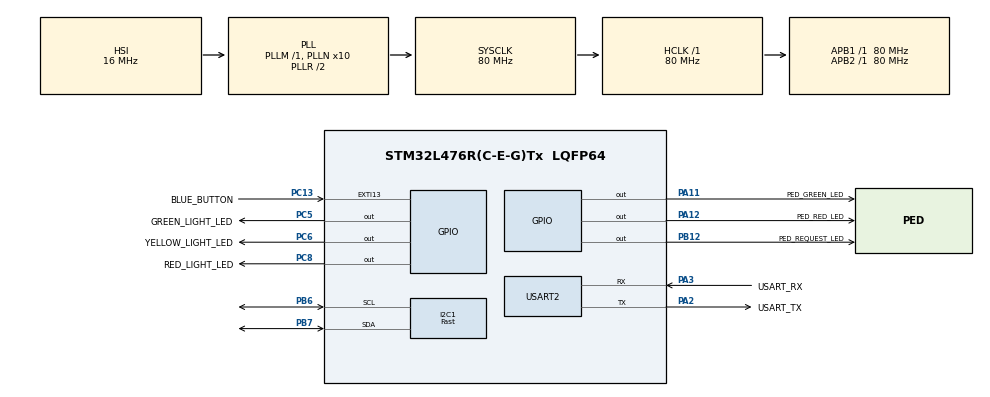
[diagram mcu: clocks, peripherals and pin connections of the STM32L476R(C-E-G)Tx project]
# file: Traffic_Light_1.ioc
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I2C1.I2C_Speed_Mode=I2C_Fast
I2C1.OwnAddress=0x78
I2C1.Timing=0x00702991
Mcu.Family=STM32L4
Mcu.Name=STM32L476R(C-E-G)Tx
Mcu.Package=LQFP64
NVIC.EXTI15_10_IRQn=true\:1\:0\:true\:false\:true\:true\:true
NVIC.PriorityGroup=NVIC_PRIORITYGROUP_4
PA11.GPIO_Label=PED_GREEN_LED
PA11.Signal=GPIO_Output
PA12.GPIO_Label=PED_RED_LED
PA12.Signal=GPIO_Output
PA13\ (JTMS-SWDIO).GPIO_Label=TMS
PA13\ (JTMS-SWDIO).Mode=Serial_Wire
PA13\ (JTMS-SWDIO).Signal=SYS_JTMS-SWDIO
PA14\ (JTCK-SWCLK).GPIO_Label=TCK
PA14\ (JTCK-SWCLK).Mode=Serial_Wire
PA14\ (JTCK-SWCLK).Signal=SYS_JTCK-SWCLK
PA2.GPIO_Label=USART_TX
PA2.GPIO_Mode=GPIO_MODE_AF_PP
PA2.GPIO_PuPd=GPIO_NOPULL
PA2.GPIO_Speed=GPIO_SPEED_FREQ_VERY_HIGH
PA2.Mode=Asynchronous
PA2.Signal=USART2_TX
PA3.GPIO_Label=USART_RX
PA3.GPIO_Mode=GPIO_MODE_AF_PP
PA3.GPIO_PuPd=GPIO_NOPULL
PA3.GPIO_Speed=GPIO_SPEED_FREQ_VERY_HIGH
PA3.Mode=Asynchronous
PA3.Signal=USART2_RX
PB12.GPIO_Label=PED_REQUEST_LED
PB12.Signal=GPIO_Output
PB3\ (JTDO-TRACESWO).GPIO_Label=SWO
PB3\ (JTDO-TRACESWO).Signal=SYS_JTDO-SWO
PB6.Mode=I2C
PB6.Signal=I2C1_SCL
PB7.Mode=I2C
PB7.Signal=I2C1_SDA
PC13.GPIO_Label=BLUE_BUTTON
PC13.GPIO_ModeDefaultEXTI=GPIO_MODE_IT_FALLING
PC13.GPIO_PuPd=GPIO_NOPULL
PC13.Signal=GPXTI13
PC14-OSC32_IN\ (PC14).Mode=LSE-External-Oscillator
PC14-OSC32_IN\ (PC14).Signal=RCC_OSC32_IN
PC15-OSC32_OUT\ (PC15).Mode=LSE-External-Oscillator
PC15-OSC32_OUT\ (PC15).Signal=RCC_OSC32_OUT
PC5.GPIO_Label=GREEN_LIGHT_LED
PC5.Signal=GPIO_Output
PC6.GPIO_Label=YELLOW_LIGHT_LED
PC6.Signal=GPIO_Output
PC8.GPIO_Label=RED_LIGHT_LED
PC8.Signal=GPIO_Output
PH0-OSC_IN\ (PH0).Signal=RCC_OSC_IN
PH1-OSC_OUT\ (PH1).Signal=RCC_OSC_OUT
ProjectManager.HeapSize=0x200
ProjectManager.StackSize=0x400
ProjectManager.TargetToolchain=STM32CubeIDE
RCC.ADCFreq_Value=64000000
RCC.AHBFreq_Value=80000000
RCC.APB1Freq_Value=80000000
RCC.APB1TimFreq_Value=80000000
RCC.APB2Freq_Value=80000000
RCC.APB2TimFreq_Value=80000000
RCC.CortexFreq_Value=80000000
RCC.HCLKFreq_Value=80000000
RCC.HSE_VALUE=8000000
RCC.HSI_VALUE=16000000
RCC.MSI_VALUE=4000000
RCC.PLLN=10
RCC.PLLSourceVirtual=RCC_PLLSOURCE_HSI
RCC.PREFETCH_ENABLE=1
RCC.SYSCLKFreq_VALUE=80000000
RCC.SYSCLKSource=RCC_SYSCLKSOURCE_PLLCLK
RCC.USBFreq_Value=64000000
RCC.VCOOutputFreq_Value=160000000
USART2.VirtualMode-Asynchronous=VM_ASYNC
board=NUCLEO-L476RG

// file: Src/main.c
/* USER CODE BEGIN Header */
/**
  ******************************************************************************
  * @file           : main.c
  * @brief          : Main program body
  ******************************************************************************
  * @attention
  *
  * <h2><center>&copy; Copyright (c) 2019 STMicroelectronics.
  * All rights reserved.</center></h2>
  *
  * This software component is licensed by ST under BSD 3-Clause license,
  * the "License"; You may not use this file except in compliance with the
  * License. You may obtain a copy of the License at:
  *                        opensource.org/licenses/BSD-3-Clause
  *
  ******************************************************************************
  */
/* USER CODE END Header */

#include "main.h"

/* USER CODE BEGIN Includes */
#include <sch.h>
#include <sch_cfg.h>

#include <sig_cfg.h>

#include <sys_timer.h>
#include <sys_button.h>

#include <PedestrianAnimation.h>

#include <PedestrianRequestLight.h>

#include <PelicanCrossing.h>

#include <ssd1306.h>

/* USER CODE END Includes */

I2C_HandleTypeDef hi2c1;

UART_HandleTypeDef huart2;

void SystemClock_Config(void);
static void MX_GPIO_Init(void);
static void MX_USART2_UART_Init(void);
static void MX_I2C1_Init(void);

int main(void)
{

  /* MCU Configuration--------------------------------------------------------*/

  /* Reset of all peripherals, Initializes the Flash interface and the Systick. */
  HAL_Init();

  /* USER CODE BEGIN Init */

  Sch_Init(&Sch_Cfg);
  PC_Init();
  PA_Init();
  /* USER CODE END Init */

  /* Configure the system clock */
  SystemClock_Config();

  /* Initialize all configured peripherals */
  MX_GPIO_Init();
  MX_USART2_UART_Init();
  MX_I2C1_Init();
  /* USER CODE BEGIN 2 */

  SSD1306_Init();

  /* USER CODE END 2 */

  /* Infinite loop */
  while (1)
  {
	  Sch_Main();
  }
}

void SystemClock_Config(void)
{
  RCC_OscInitTypeDef RCC_OscInitStruct = {0};
  RCC_ClkInitTypeDef RCC_ClkInitStruct = {0};
  RCC_PeriphCLKInitTypeDef PeriphClkInit = {0};

  /** Initializes the CPU, AHB and APB busses clocks
  */
  RCC_OscInitStruct.OscillatorType = RCC_OSCILLATORTYPE_HSI;
  RCC_OscInitStruct.HSIState = RCC_HSI_ON;
  RCC_OscInitStruct.HSICalibrationValue = RCC_HSICALIBRATION_DEFAULT;
  RCC_OscInitStruct.PLL.PLLState = RCC_PLL_ON;
  RCC_OscInitStruct.PLL.PLLSource = RCC_PLLSOURCE_HSI;
  RCC_OscInitStruct.PLL.PLLM = 1;
  RCC_OscInitStruct.PLL.PLLN = 10;
  RCC_OscInitStruct.PLL.PLLP = RCC_PLLP_DIV7;
  RCC_OscInitStruct.PLL.PLLQ = RCC_PLLQ_DIV2;
  RCC_OscInitStruct.PLL.PLLR = RCC_PLLR_DIV2;
  if (HAL_RCC_OscConfig(&RCC_OscInitStruct) != HAL_OK)
  {
    Error_Handler();
  }
  /** Initializes the CPU, AHB and APB busses clocks
  */
  RCC_ClkInitStruct.ClockType = RCC_CLOCKTYPE_HCLK|RCC_CLOCKTYPE_SYSCLK
                              |RCC_CLOCKTYPE_PCLK1|RCC_CLOCKTYPE_PCLK2;
  RCC_ClkInitStruct.SYSCLKSource = RCC_SYSCLKSOURCE_PLLCLK;
  RCC_ClkInitStruct.AHBCLKDivider = RCC_SYSCLK_DIV1;
  RCC_ClkInitStruct.APB1CLKDivider = RCC_HCLK_DIV1;
  RCC_ClkInitStruct.APB2CLKDivider = RCC_HCLK_DIV1;

  if (HAL_RCC_ClockConfig(&RCC_ClkInitStruct, FLASH_LATENCY_4) != HAL_OK)
  {
    Error_Handler();
  }
  PeriphClkInit.PeriphClockSelection = RCC_PERIPHCLK_USART2|RCC_PERIPHCLK_I2C1;
  PeriphClkInit.Usart2ClockSelection = RCC_USART2CLKSOURCE_PCLK1;
  PeriphClkInit.I2c1ClockSelection = RCC_I2C1CLKSOURCE_PCLK1;
  if (HAL_RCCEx_PeriphCLKConfig(&PeriphClkInit) != HAL_OK)
  {
    Error_Handler();
  }
  /** Configure the main internal regulator output voltage
  */
  if (HAL_PWREx_ControlVoltageScaling(PWR_REGULATOR_VOLTAGE_SCALE1) != HAL_OK)
  {
    Error_Handler();
  }
}

static void MX_I2C1_Init(void)
{

  hi2c1.Instance = I2C1;
  hi2c1.Init.Timing = 0x00702991;
  hi2c1.Init.OwnAddress1 = 240;
  hi2c1.Init.AddressingMode = I2C_ADDRESSINGMODE_7BIT;
  hi2c1.Init.DualAddressMode = I2C_DUALADDRESS_DISABLE;
  hi2c1.Init.OwnAddress2 = 0;
  hi2c1.Init.OwnAddress2Masks = I2C_OA2_NOMASK;
  hi2c1.Init.GeneralCallMode = I2C_GENERALCALL_DISABLE;
  hi2c1.Init.NoStretchMode = I2C_NOSTRETCH_DISABLE;
  if (HAL_I2C_Init(&hi2c1) != HAL_OK)
  {
    Error_Handler();
  }
  /** Configure Analogue filter
  */
  if (HAL_I2CEx_ConfigAnalogFilter(&hi2c1, I2C_ANALOGFILTER_ENABLE) != HAL_OK)
  {
    Error_Handler();
  }
  /** Configure Digital filter
  */
  if (HAL_I2CEx_ConfigDigitalFilter(&hi2c1, 0) != HAL_OK)
  {
    Error_Handler();
  }

}

static void MX_USART2_UART_Init(void)
{

  huart2.Instance = USART2;
  huart2.Init.BaudRate = 115200;
  huart2.Init.WordLength = UART_WORDLENGTH_8B;
  huart2.Init.StopBits = UART_STOPBITS_1;
  huart2.Init.Parity = UART_PARITY_NONE;
  huart2.Init.Mode = UART_MODE_TX_RX;
  huart2.Init.HwFlowCtl = UART_HWCONTROL_NONE;
  huart2.Init.OverSampling = UART_OVERSAMPLING_16;
  huart2.Init.OneBitSampling = UART_ONE_BIT_SAMPLE_DISABLE;
  huart2.AdvancedInit.AdvFeatureInit = UART_ADVFEATURE_NO_INIT;
  if (HAL_UART_Init(&huart2) != HAL_OK)
  {
    Error_Handler();
  }

}

static void MX_GPIO_Init(void)
{
  GPIO_InitTypeDef GPIO_InitStruct = {0};

  /* GPIO Ports Clock Enable */
  __HAL_RCC_GPIOC_CLK_ENABLE();
  __HAL_RCC_GPIOH_CLK_ENABLE();
  __HAL_RCC_GPIOA_CLK_ENABLE();
  __HAL_RCC_GPIOB_CLK_ENABLE();

  /*Configure GPIO pin Output Level */
  HAL_GPIO_WritePin(GPIOC, GREEN_LIGHT_LED_Pin|YELLOW_LIGHT_LED_Pin|RED_LIGHT_LED_Pin, GPIO_PIN_RESET);

  /*Configure GPIO pin Output Level */
  HAL_GPIO_WritePin(PED_REQUEST_LED_GPIO_Port, PED_REQUEST_LED_Pin, GPIO_PIN_RESET);

  /*Configure GPIO pin Output Level */
  HAL_GPIO_WritePin(GPIOA, PED_GREEN_LED_Pin|PED_RED_LED_Pin, GPIO_PIN_RESET);

  /*Configure GPIO pin : BLUE_BUTTON_Pin */
  GPIO_InitStruct.Pin = BLUE_BUTTON_Pin;
  GPIO_InitStruct.Mode = GPIO_MODE_IT_FALLING;
  GPIO_InitStruct.Pull = GPIO_NOPULL;
  HAL_GPIO_Init(BLUE_BUTTON_GPIO_Port, &GPIO_InitStruct);

  /*Configure GPIO pins : GREEN_LIGHT_LED_Pin YELLOW_LIGHT_LED_Pin RED_LIGHT_LED_Pin */
  GPIO_InitStruct.Pin = GREEN_LIGHT_LED_Pin|YELLOW_LIGHT_LED_Pin|RED_LIGHT_LED_Pin;
  GPIO_InitStruct.Mode = GPIO_MODE_OUTPUT_PP;
  GPIO_InitStruct.Pull = GPIO_NOPULL;
  GPIO_InitStruct.Speed = GPIO_SPEED_FREQ_LOW;
  HAL_GPIO_Init(GPIOC, &GPIO_InitStruct);

  /*Configure GPIO pin : PED_REQUEST_LED_Pin */
  GPIO_InitStruct.Pin = PED_REQUEST_LED_Pin;
  GPIO_InitStruct.Mode = GPIO_MODE_OUTPUT_PP;
  GPIO_InitStruct.Pull = GPIO_NOPULL;
  GPIO_InitStruct.Speed = GPIO_SPEED_FREQ_LOW;
  HAL_GPIO_Init(PED_REQUEST_LED_GPIO_Port, &GPIO_InitStruct);

  /*Configure GPIO pins : PED_GREEN_LED_Pin PED_RED_LED_Pin */
  GPIO_InitStruct.Pin = PED_GREEN_LED_Pin|PED_RED_LED_Pin;
  GPIO_InitStruct.Mode = GPIO_MODE_OUTPUT_PP;
  GPIO_InitStruct.Pull = GPIO_NOPULL;
  GPIO_InitStruct.Speed = GPIO_SPEED_FREQ_LOW;
  HAL_GPIO_Init(GPIOA, &GPIO_InitStruct);

  /* EXTI interrupt init*/
  HAL_NVIC_SetPriority(EXTI15_10_IRQn, 1, 0);
  HAL_NVIC_EnableIRQ(EXTI15_10_IRQn);

}

/* USER CODE BEGIN 4 */
void Counter_Task_1000ms(void) {
	Sys_GetCounter();
};

void PedWalkingAnimation_200ms(void) {
	PA_main(SIG_GET_PEDESTRIAN_ANIMATION);
}

void PedestrianLight_Task_500ms(void) {
	PRL_main(SIG_GET_PEDESTRIAN_REQUEST);
};

void CarTrafficLight_Task_500ms(void) {
	PC_Main();
};

/* USER CODE END 4 */

void Error_Handler(void)
{
}

/************************ (C) COPYRIGHT STMicroelectronics *****END OF FILE****/
